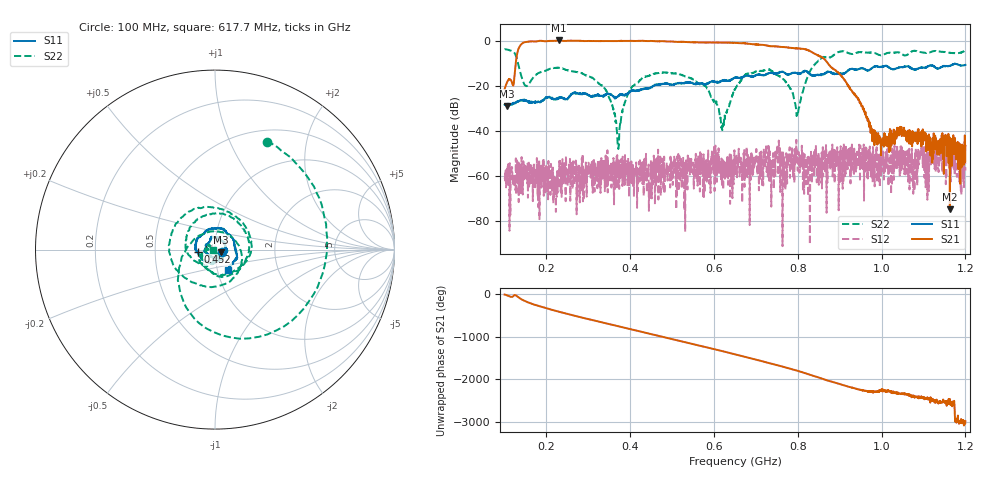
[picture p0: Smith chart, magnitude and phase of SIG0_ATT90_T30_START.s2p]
# Hz S RI R 50
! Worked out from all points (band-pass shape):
!   1601 points, 100 MHz to 1.2 GHz, reference 50 ohm
!   highest |S21| = 0.39 dB at 229.2 MHz (marker M1); lowest = -74.7 dB at 1.163 GHz (marker M2)
!   |S21| within 3 dB of the highest: 134.9 MHz to 770.9 MHz (636 MHz wide, 140 % of centre); 771.1875 MHz to 772 MHz (812.6 kHz wide, 0.105 % of centre)
!   lowest |S11| = -28.7 dB at 106.2 MHz (marker M3), VSWR 1.08, Z = 53.4 - j1.59 ohm
!   |S11| at or under -10 dB: start of sweep to 1.174 GHz; 1.175 GHz to 1.175906 GHz (905.5 kHz wide, 0.077 % of centre); 1.176 GHz to end of sweep
!   |S22| runs from -47.8 to -3.5 dB; largest |S21 - S12| = 1
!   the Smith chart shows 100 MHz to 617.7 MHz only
!   S11 on the Smith chart (normalised r, x): 100 MHz: 1.08, -0.02; 452 MHz: 0.83, -0.02; 617.7 MHz: 1.13, -0.26
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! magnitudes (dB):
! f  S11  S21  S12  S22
! 100 MHz  -28.2  -21.3  -60.6  -3.6
! 106.2 MHz  -28.7  -18.1  -56.7  -3.7
! 150.9 MHz  -26.6  -0.3  -58.7  -19.8
! 221.7 MHz  -25.5  0.2  -62.3  -11.8
! 229.2 MHz  -25.5  0.4  -60.6  -11.8
! 283.6 MHz  -23.3  0.2  -64.0  -14.1
! 340.6 MHz  -23.8  0.1  -58.7  -21.5
! 371.6 MHz  -24.3  0.1  -53.5  -47.8
! 399.1 MHz  -22.2  0.2  -59.6  -21.8
! 452 MHz  -20.5  0.2  -61.0  -14.7
! 467.1 MHz  -19.2  0.0  -70.3  -14.1
! 578.5 MHz  -19.1  -0.5  -53.0  -19.7
! 617.7 MHz  -17.4  -0.6  -52.1  -38.5
! 650 MHz  -16.2  -0.7  -51.7  -21.1
! 732.5 MHz  -14.0  -2.2  -52.3  -12.5
! 799.9 MHz  -14.4  -3.2  -57.5  -32.4
! 833.6 MHz  -15.1  -4.8  -62.9  -11.9
! 909.2 MHz  -14.5  -16.6  -52.2  -4.4
! 985.5 MHz  -10.9  -44.4  -55.7  -5.3
! 1.017 GHz  -11.6  -42.2  -56.8  -5.1
! 1.163 GHz  -10.8  -74.7  -50.8  -5.1
! 1.2 GHz  -10.4  -46.4  -57.4  -4.1
